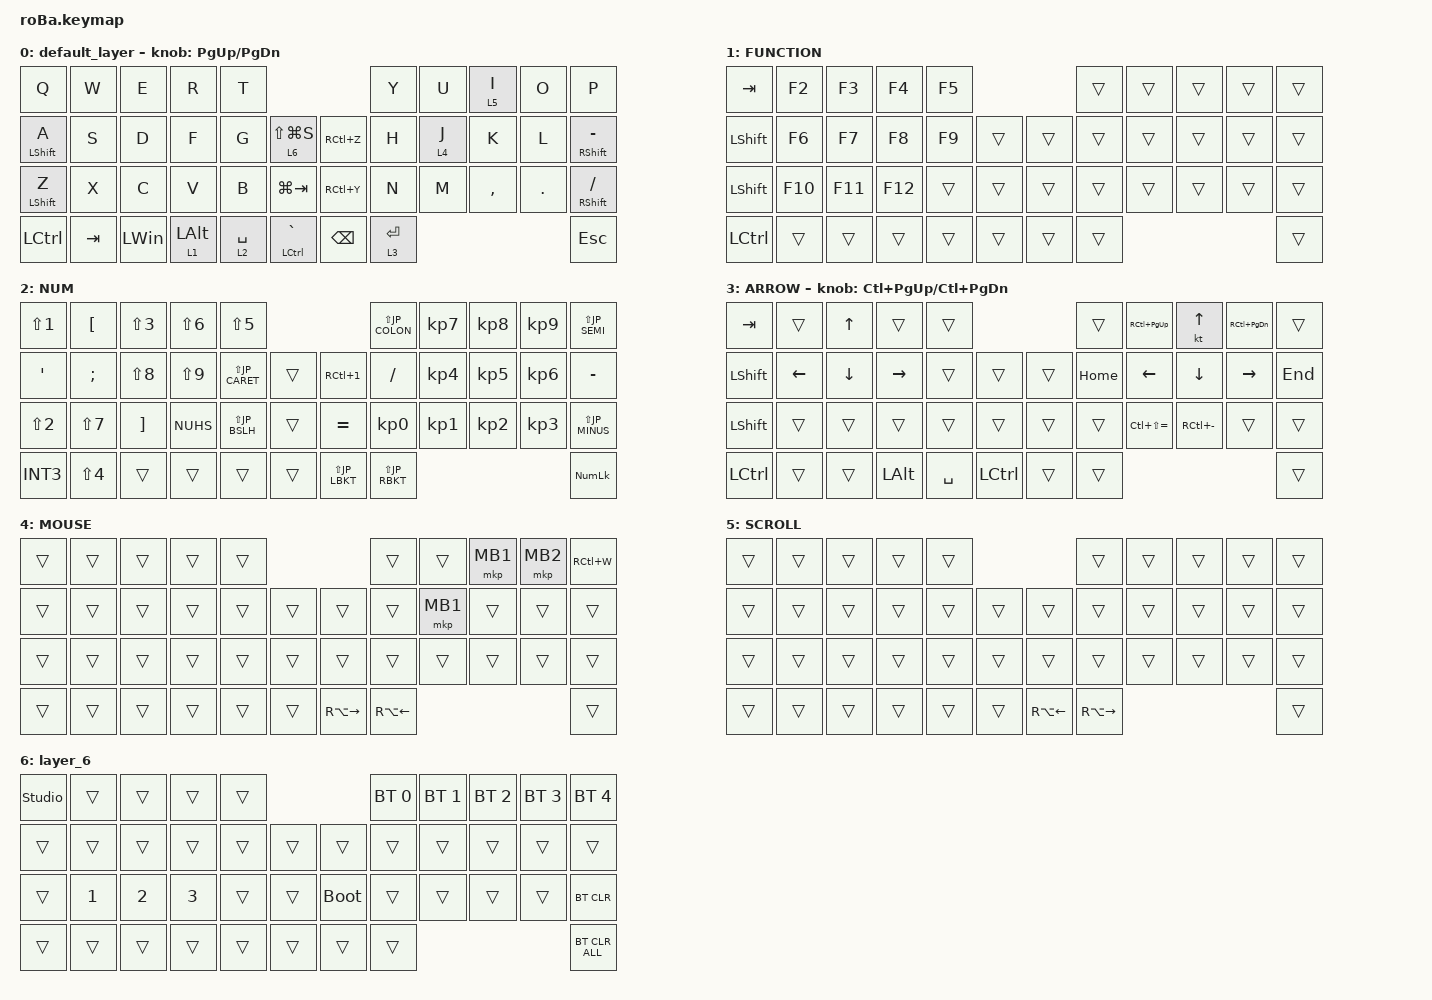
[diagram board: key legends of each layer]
#include <behaviors.dtsi>
#include <dt-bindings/zmk/bt.h>
#include <dt-bindings/zmk/keys.h>
#include <dt-bindings/zmk/pointing.h>

// OS設定を日本語キーボードのまま使用するための変換定義

#define JP_ZKHK  GRAVE        // Zenkaku ↔ Hankaku ↔ Kanji (半角 ↔ 全角 ↔ 漢字)
#define JP_MINUS MINUS        // -
#define JP_CARET EQUAL        // ^
#define JP_YEN   INT3         // ¥
#define JP_AT    LBKT         // @
#define JP_LBKT  RBKT         // [
#define JP_EISU  CAPS         // Eisū (英数)
#define JP_SEMI  SEMI         // ;
#define JP_COLON SQT          // :
#define JP_RBKT  NUHS         // ]
#define JP_COMMA COMMA        // ,
#define JP_DOT   DOT          // .
#define JP_SLASH SLASH        // /
#define JP_BSLH  INT1         // (backslash)
#define JP_MHEN  INT5         // Muhenkan (無変換)
#define JP_HENK  INT4         // Henkan (変換)
#define JP_KANA  INT2         // Katakana ↔ Hiragana ↔ Rōmaji (カタカナ ↔ ひらがな ↔ ローマ字)
#define JP_EXCL  LS(N1)       // !
#define JP_DQT   LS(N2)       // "
#define JP_HASH  LS(N3)       // #
#define JP_DLLR  LS(N4)       // $
#define JP_PRCNT LS(N5)       // %
#define JP_AMPS  LS(N6)       // &
#define JP_SQT   LS(N7)       // '
#define JP_LPAR  LS(N8)       // (
#define JP_RPAR  LS(N9)       // )
#define JP_EQUAL LS(JP_MINUS) // =
#define JP_TILDE LS(JP_CARET) // ~
#define JP_PIPE  LS(JP_YEN)   // |
#define JP_GRAVE LS(JP_AT)    // `
#define JP_LBRC  LS(JP_LBKT)  // {
#define JP_CAPS  LS(JP_EISU)  // Caps Lock
#define JP_PLUS  LS(JP_SEMI)  // +
#define JP_ASTRK LS(JP_COLON) // *
#define JP_RBRC  LS(JP_RBKT)  // }
#define JP_LT    LS(JP_COMMA) // <
#define JP_RT    LS(JP_DOT)   // >
#define JP_QMARK LS(JP_SLASH) // ?
#define JP_UNDER LS(JP_BSLH)  // _
#define MOUSE 4
#define SCROLL 5
#define NUM 6

&mt {
    flavor = "balanced";
    quick-tap-ms = <0>;
};

/ {
    combos {
        compatible = "zmk,combos";

        tab {
            bindings = <&kp TAB>;
            key-positions = <11 12>;
        };

        shift_tab {
            bindings = <&kp LS(TAB)>;
            key-positions = <12 13>;
        };

        muhennkann {
            bindings = <&to_layer_0 INT_MUHENKAN>;
            key-positions = <11 10>;
        };

        double_quotation {
            bindings = <&kp DOUBLE_QUOTES>;
            key-positions = <20 21>;
        };

        eq {
            bindings = <&kp EQUAL>;
            key-positions = <24 25>;
        };
    };

    macros {
        to_layer_0: to_layer_0 {
            compatible = "zmk,behavior-macro-one-param";
            #binding-cells = <1>;
            bindings = <&to 0 &macro_param_1to1 &kp MACRO_PLACEHOLDER>;
            label = "TO_LAYER_0";
        };
    };

    behaviors {
        lt_to_layer_0: lt_to_layer_0 {
            compatible = "zmk,behavior-hold-tap";
            label = "LAYER_TAP_TO_0";
            bindings = <&mo>, <&to_layer_0>;

            #binding-cells = <2>;
            tapping-term-ms = <200>;
        };

        left_parentheses: left_parentheses {
            compatible = "zmk,behavior-tap-dance";
            label = "LEFT_PARENTHESES";
            #binding-cells = <0>;
            tapping-term-ms = <200>;
            bindings = <&kp JP_LPAR>, <&kp JP_LBKT>, <&kp JP_LBRC>;
        };

        right_parentheses: right_parentheses {
            compatible = "zmk,behavior-tap-dance";
            label = "RIGHT_PARENTHESES";
            #binding-cells = <0>;
            tapping-term-ms = <200>;
            bindings = <&kp JP_RPAR>, <&kp JP_RBKT>, <&kp JP_RBRC>;
        };

        quote: quote {
            compatible = "zmk,behavior-tap-dance";
            label = "QUOTE";
            #binding-cells = <0>;
            tapping-term-ms = <200>;
            bindings = <&kp JP_DQT>, <&kp JP_SQT>, <&kp JP_GRAVE>;
        };

        colon: colon {
            compatible = "zmk,behavior-tap-dance";
            label = "COLON";
            #binding-cells = <0>;
            tapping-term-ms = <200>;
            bindings = <&kp JP_COLON>, <&kp JP_SEMI>;
        };
    };

    keymap {
        compatible = "zmk,keymap";

        default_layer {
            bindings = <
&kp Q             &kp W    &kp E         &kp R                      &kp T                                              &kp Y        &kp U    &lt 5 I       &kp O       &kp P
&mt LEFT_SHIFT A  &kp S    &kp D         &kp F                      &kp G        &lt 6 LS(LG(S))        &kp RC(Z)      &kp H        &lt 4 J  &kp K         &kp L       &mt RSHIFT JP_MINUS
&mt LEFT_SHIFT Z  &kp X    &kp C         &kp V                      &kp B        &kp LG(TAB)            &kp RC(Y)      &kp N        &kp M    &kp JP_COMMA  &kp JP_DOT  &mt RIGHT_SHIFT JP_SLASH
&kp LCTRL         &kp TAB  &kp LEFT_WIN  &lt_to_layer_0 1 LEFT_ALT  &lt 2 SPACE  &mt LCTRL JP_ZKHK      &kp BACKSPACE  &lt 3 ENTER                                     &kp ESC
            >;

            sensor-bindings = <&inc_dec_kp PG_UP PAGE_DOWN>;
        };

        FUNCTION {
            bindings = <
&kp TAB         &kp F2   &kp F3   &kp F4   &kp F5                      &trans  &trans  &trans  &trans  &trans
&kp LEFT_SHIFT  &kp F6   &kp F7   &kp F8   &kp F9  &trans      &trans  &trans  &trans  &trans  &trans  &trans
&kp LEFT_SHIFT  &kp F10  &kp F11  &kp F12  &trans  &trans      &trans  &trans  &trans  &trans  &trans  &trans
&kp LCTRL       &trans   &trans   &trans   &trans  &trans      &trans  &trans                          &trans
            >;
        };

        NUM {
            bindings = <
&kp JP_EXCL   &kp JP_AT    &kp JP_HASH  &kp JP_AMPS  &kp JP_PRCNT                            &kp JP_ASTRK     &kp KP_NUMBER_7  &kp KP_NUMBER_8  &kp KP_NUMBER_9  &kp JP_PLUS
&kp JP_COLON  &kp JP_SEMI  &kp JP_LPAR  &kp JP_RPAR  &kp JP_TILDE  &trans      &kp RC(N1)    &kp JP_SLASH     &kp KP_NUMBER_4  &kp KP_NUMBER_5  &kp KP_NUMBER_6  &kp JP_MINUS
&kp JP_DQT    &kp JP_SQT   &kp JP_LBKT  &kp JP_RBKT  &kp JP_UNDER  &trans      &kp JP_CARET  &kp KP_NUMBER_0  &kp KP_NUMBER_1  &kp KP_NUMBER_2  &kp KP_NUMBER_3  &kp JP_EQUAL
&kp JP_YEN    &kp JP_DLLR  &trans       &trans       &trans        &trans      &kp JP_LBRC   &kp JP_RBRC                                                         &kp KP_NUMLOCK
            >;
        };

        ARROW {
            bindings = <
&kp TAB         &trans          &kp UP_ARROW    &trans           &trans                            &trans    &kp RC(PAGE_UP)    &kt UP_ARROW   &kp RC(PAGE_DOWN)  &trans
&kp LEFT_SHIFT  &kp LEFT_ARROW  &kp DOWN_ARROW  &kp RIGHT_ARROW  &trans     &trans         &trans  &kp HOME  &kp LEFT_ARROW     &kp DOWN       &kp RIGHT          &kp END
&kp LEFT_SHIFT  &trans          &trans          &trans           &trans     &trans         &trans  &trans    &kp LC(LS(EQUAL))  &kp RC(MINUS)  &trans             &trans
&kp LCTRL       &trans          &trans          &kp LEFT_ALT     &kp SPACE  &kp LCTRL      &trans  &trans                                                         &trans
            >;

            sensor-bindings = <&inc_dec_kp LC(PAGE_UP) LC(PAGE_DOWN)>;
        };

        MOUSE {
            bindings = <
&trans  &trans  &trans  &trans  &trans                                   &trans              &trans    &mkp MB1  &mkp MB2  &kp RC(W)
&trans  &trans  &trans  &trans  &trans  &trans      &trans               &trans              &mkp MB1  &trans    &trans    &trans
&trans  &trans  &trans  &trans  &trans  &trans      &trans               &trans              &trans    &trans    &trans    &trans
&trans  &trans  &trans  &trans  &trans  &trans      &kp RA(RIGHT_ARROW)  &kp RA(LEFT_ARROW)                                &trans
            >;
        };

        SCROLL {
            bindings = <
&trans  &trans  &trans  &trans  &trans                                  &trans               &trans  &trans  &trans  &trans
&trans  &trans  &trans  &trans  &trans  &trans      &trans              &trans               &trans  &trans  &trans  &trans
&trans  &trans  &trans  &trans  &trans  &trans      &trans              &trans               &trans  &trans  &trans  &trans
&trans  &trans  &trans  &trans  &trans  &trans      &kp RA(LEFT_ARROW)  &kp RA(RIGHT_ARROW)                          &trans
            >;
        };

        layer_6 {
            bindings = <
&studio_unlock  &trans        &trans        &trans        &trans                           &bt BT_SEL 0  &bt BT_SEL 1  &bt BT_SEL 2  &bt BT_SEL 3  &bt BT_SEL 4
&trans          &trans        &trans        &trans        &trans  &trans      &trans       &trans        &trans        &trans        &trans        &trans
&trans          &kp NUMBER_1  &kp NUMBER_2  &kp NUMBER_3  &trans  &trans      &bootloader  &trans        &trans        &trans        &trans        &bt BT_CLR
&trans          &trans        &trans        &trans        &trans  &trans      &trans       &trans                                                  &bt BT_CLR_ALL
            >;
        };
    };
};
